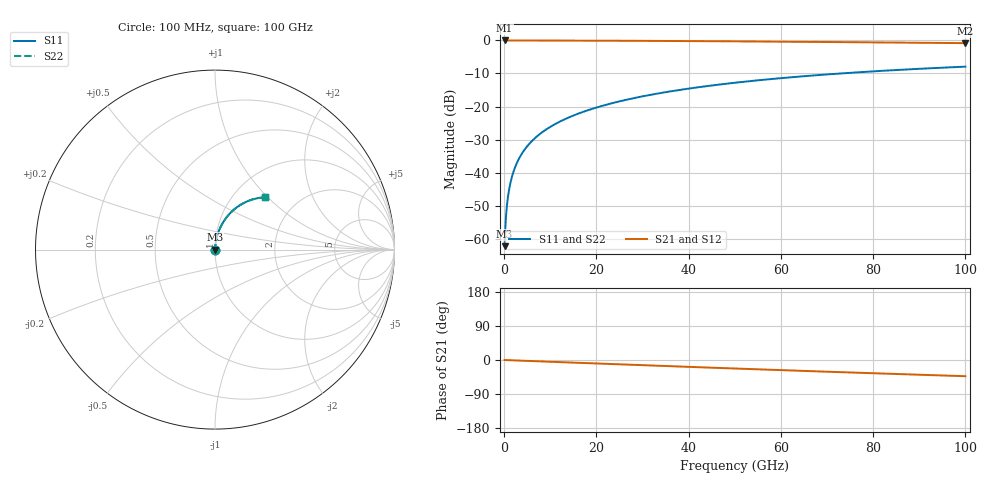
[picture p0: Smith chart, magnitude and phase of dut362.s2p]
! Touchstone file exported from HFSS 2026.1.0
!  File:  C:/ffzhzh/LocalFiles/Ansys_Project_Files/temp_train_RDL_362_1783503405_44152.aedt
!  Generated:  05:37:53 PM Jul  8, 2026
!  Design:  RDL
!  Project:  temp_train_RDL_362_1783503405_44152
! Variables:
!  h_bsmrdl = 2um
!  h_ox = 20um
!  h_rdl = 5um
!  h_sub = 80um
!  h_tmrdl = 4.81um
!  h_tsv = 80um
!  h_via = 3um
!  l_bsmrdl = 300um
!  l_sub = 500.62um
!  l_tmrdl = 100.62um
!  m_sub = 200um
!  pitch = 44.29um
!  r_tsv = 6um
!  s_tmrdl = 10um
!  w_bsmrdl = 18um
!  w_sub = 500um
!  w_tmrdl = 18.6um
!  x_tsv_center1 = 109.92um
!  x_tsv_center2 = 427.92um
!  x_tsv_center3 = 547.14um
!  x_tsv_center4 = 865.14um
!  x_tsv_center5 = 984.36um
!  x_tsv_center6 = 1302.36um
# GHz S MA R 50.000000
! Terminal data exported
! Port[1] = TM_RDL1_1_T1
! Port[2] = TM_RDL1_1_T2
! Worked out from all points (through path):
!   1000 points, 100 MHz to 100 GHz, reference 50 ohm
!   highest |S21| = 0.00 dB at 100 MHz (marker M1); lowest = -0.8 dB at 100 GHz (marker M2)
!   group delay of S21, straight-line fit = 1.19 ps
!   lowest |S11| = -62.2 dB at 100 MHz (marker M3), VSWR 1.00, Z = 50.1 + j0.0547 ohm
!   |S11| at or under -10 dB: start of sweep to 72.84 GHz
!   |S22| runs from -62.2 to -7.9 dB; largest |S21 - S12| = 4.2e-15
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0.1  0.0007724 45.0  0.9995 -0.0  0.9995 -0.0  0.0007724 45.0
! Gamma 0 0 0 0
! Port Impedance 50 0 50 0
0.4  0.002185 73.4  0.9994 -0.2  0.9994 -0.2  0.002185 73.4
0.7  0.003669 79.4  0.9993 -0.3  0.9993 -0.3  0.003669 79.4
0.8  0.004168 80.5  0.9993 -0.4  0.9993 -0.4  0.004168 80.5
1.1  0.005675 82.5  0.9993 -0.5  0.9993 -0.5  0.005675 82.5
1.4  0.007186 83.6  0.9993 -0.7  0.9993 -0.7  0.007186 83.6
1.9  0.009705 84.5  0.9992 -0.9  0.9992 -0.9  0.009705 84.5
2.4  0.01222 84.9  0.9991 -1.1  0.9991 -1.1  0.01222 84.9
3.1  0.01572 85.1  0.9989 -1.5  0.9989 -1.5  0.01572 85.1
3.9  0.01969 85.0  0.9987 -1.8  0.9987 -1.8  0.01969 85.0
4.9  0.02461 84.8  0.9985 -2.3  0.9985 -2.3  0.02461 84.8
6  0.02998 84.5  0.9981 -2.8  0.9981 -2.8  0.02998 84.5
8.8  0.04351 83.6  0.9973 -4.1  0.9973 -4.1  0.04351 83.6
12.4  0.06074 82.2  0.996 -5.7  0.996 -5.7  0.06074 82.2
16.8  0.08158 80.5  0.9941 -7.7  0.9941 -7.7  0.08158 80.5
24.2  0.1161 77.4  0.9902 -11.1  0.9902 -11.1  0.1161 77.4
33.4  0.1579 73.5  0.9839 -15.2  0.9839 -15.2  0.1579 73.5
41.2  0.1921 70.2  0.9774 -18.7  0.9774 -18.7  0.1921 70.2
50.1  0.2295 66.4  0.969 -22.5  0.969 -22.5  0.2295 66.4
66.7  0.2941 59.6  0.951 -29.5  0.951 -29.5  0.2941 59.5
83.4  0.3518 52.9  0.9309 -36.3  0.9309 -36.3  0.3518 52.9
100  0.4012 46.5  0.9105 -42.8  0.9105 -42.8  0.4012 46.5
